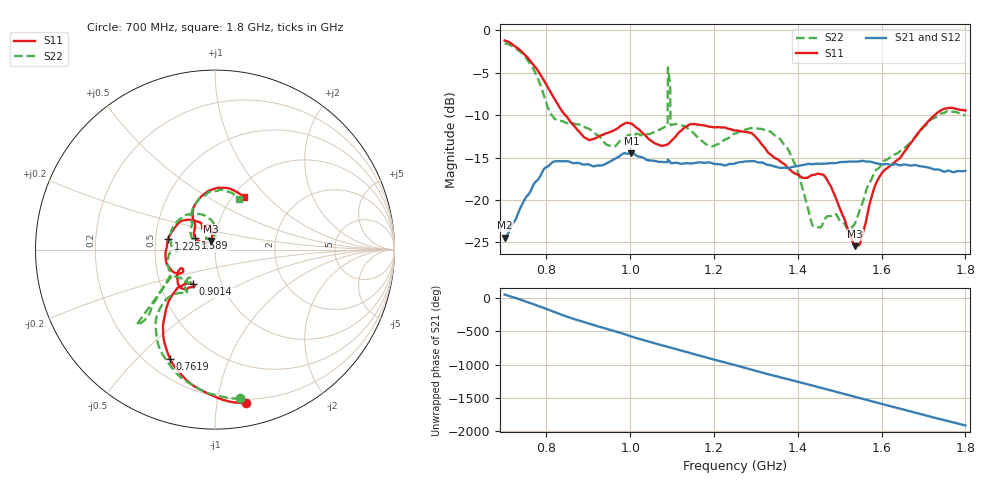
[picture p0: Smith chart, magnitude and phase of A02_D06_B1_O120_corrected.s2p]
! Created with skrf 1.9.0 (http://scikit-rf.org).
# Hz S RI R 50.0
!freq ReS11 ImS11 ReS21 ImS21 ReS12 ImS12 ReS22 ImS22
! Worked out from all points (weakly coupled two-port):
!   1601 points, 700 MHz to 1.8 GHz, reference 50 ohm
!   highest |S21| = -14.45 dB at 1.002 GHz (marker M1); lowest = -24.4 dB at 701.4 MHz (marker M2)
!   lowest |S11| = -25.4 dB at 1.537 GHz (marker M3), VSWR 1.11, Z = 47.6 + j4.62 ohm
!   |S11| at or under -10 dB: 845.1 MHz to 1.726 GHz (881 MHz wide, 68.5 % of centre)
!   |S22| runs from -23.5 to -1.5 dB; largest |S21 - S12| = 0.0035
!   S11 on the Smith chart (normalised r, x): 700 MHz: 0.17, -1.21; 761.9 MHz: 0.29, -0.63; 901.4 MHz: 0.73, -0.29; 1.225 GHz: 0.58, +0.08; 1.589 GHz: 0.79, +0.11; 1.8 GHz: 1.12, +0.75
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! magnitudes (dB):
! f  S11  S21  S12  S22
! 700 MHz  -1.2  -24.4  -24.2  -1.5
! 701.4 MHz  -1.2  -24.4  -24.1  -1.5
! 761.9 MHz  -3.6  -19.0  -18.9  -4.0
! 816.2 MHz  -7.8  -15.5  -15.6  -10.2
! 883.6 MHz  -12.2  -15.8  -15.7  -11.2
! 901.4 MHz  -12.9  -15.8  -15.8  -11.6
! 1.002 GHz  -11.0  -14.4  -14.5  -12.4
! 1.067 GHz  -13.5  -15.5  -15.4  -11.8
! 1.084 GHz  -13.5  -15.5  -15.5  -11.3
! 1.095 GHz  -13.2  -15.5  -15.5  -6.5
! 1.101 GHz  -12.9  -15.7  -15.6  -11.1
! 1.225 GHz  -11.4  -15.9  -15.9  -12.9
! 1.25 GHz  -11.8  -15.7  -15.6  -12.2
! 1.357 GHz  -15.4  -16.2  -16.1  -12.8
! 1.396 GHz  -16.9  -16.0  -16.0  -16.1
! 1.434 GHz  -17.1  -15.8  -15.7  -22.8
! 1.47 GHz  -17.7  -15.7  -15.7  -21.9
! 1.537 GHz  -25.4  -15.5  -15.5  -22.7
! 1.589 GHz  -17.8  -15.7  -15.7  -16.4
! 1.617 GHz  -16.1  -15.8  -15.8  -15.1
! 1.735 GHz  -9.6  -16.4  -16.5  -10.0
! 1.8 GHz  -9.4  -16.6  -16.6  -10.0
